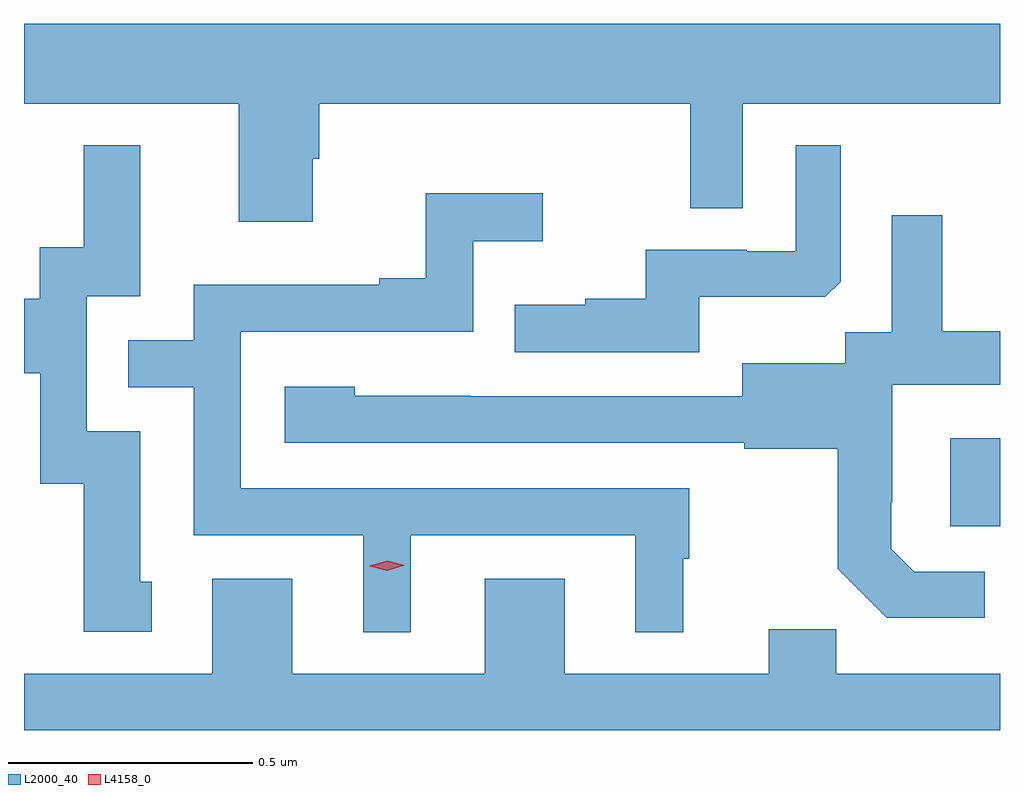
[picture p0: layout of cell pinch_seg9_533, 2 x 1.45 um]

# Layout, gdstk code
import gdstk
lib = gdstk.Library(unit=1e-6, precision=1e-09)
def R(c, l, rs):  # rectangles x0, y0, x1, y1
    for r in rs: c.add(gdstk.rectangle(r[:2], r[2:], *l))
def P(c, l, *ps):  # polygons
    for p in ps: c.add(gdstk.Polygon(p, *l))
L2000_40 = (2000, 40)
L4158_0 = (4158, 0)

pinch_seg9_533 = lib.new_cell('pinch_seg9_533')
R(pinch_seg9_533, L2000_40, [(313.391,1164.918,313.493,1165.099)])
P(pinch_seg9_533, L2000_40, [(312.085,1165.671),(312.098,1165.671),(312.098,1165.784),(312.858,1165.784),(312.858,1165.57),(312.966,1165.57),(312.966,1165.784),(313.493,1165.784),(313.493,1165.948),(311.493,1165.948),(311.493,1165.784),(311.933,1165.784),(311.933,1165.542),(312.085,1165.542)],
  [(311.755,1164.804),(311.731,1164.804),(311.731,1165.113),(311.622,1165.113),(311.622,1165.389),(311.731,1165.389),(311.731,1165.699),(311.615,1165.699),(311.615,1165.49),(311.525,1165.49),(311.525,1165.384),(311.493,1165.384),(311.493,1165.232),(311.526,1165.232),(311.526,1165.005),(311.615,1165.005),(311.615,1164.702),(311.755,1164.702)],
  [(312.877,1165.388),(313.135,1165.388),(313.167,1165.419),(313.167,1165.699),(313.074,1165.699),(313.074,1165.482),(312.974,1165.482),(312.974,1165.485),(312.767,1165.485),(312.767,1165.384),(312.643,1165.384),(312.643,1165.372),(312.499,1165.372),(312.499,1165.275),(312.877,1165.275)],
  [(312.286,1164.9),(312.746,1164.9),(312.746,1164.701),(312.844,1164.701),(312.844,1164.852),(312.856,1164.852),(312.856,1164.996),(311.937,1164.996),(311.937,1165.317),(312.414,1165.317),(312.414,1165.502),(312.556,1165.502),(312.556,1165.601),(312.316,1165.601),(312.316,1165.426),(312.221,1165.426),(312.221,1165.413),(311.841,1165.413),(311.841,1165.299),(311.707,1165.299),(311.707,1165.203),(311.841,1165.203),(311.841,1164.9),(312.188,1164.9),(312.188,1164.701),(312.286,1164.701)],
  [(313.462,1164.825),(313.317,1164.825),(313.27,1164.872),(313.27,1164.967),(313.272,1164.967),(313.272,1165.208),(313.493,1165.208),(313.493,1165.318),(313.375,1165.318),(313.375,1165.555),(313.271,1165.555),(313.271,1165.316),(313.176,1165.316),(313.176,1165.252),(312.965,1165.252),(312.965,1165.185),(312.407,1165.185),(312.407,1165.186),(312.171,1165.186),(312.171,1165.204),(312.027,1165.204),(312.027,1165.089),(312.969,1165.089),(312.969,1165.077),(313.161,1165.077),(313.161,1164.831),(313.261,1164.731),(313.462,1164.731)],
  [(313.493,1164.616),(313.157,1164.616),(313.157,1164.707),(313.019,1164.707),(313.019,1164.616),(312.601,1164.616),(312.601,1164.811),(312.437,1164.811),(312.437,1164.616),(312.043,1164.616),(312.043,1164.811),(311.879,1164.811),(311.879,1164.616),(311.493,1164.616),(311.493,1164.5),(313.493,1164.5)])
P(pinch_seg9_533, L4158_0, [(312.237,1164.827),(312.201,1164.836),(312.201,1164.836),(312.201,1164.837),(312.237,1164.847),(312.273,1164.838),(312.273,1164.838),(312.273,1164.838)])

lib.write_gds('pinch_seg9_533.gds')
